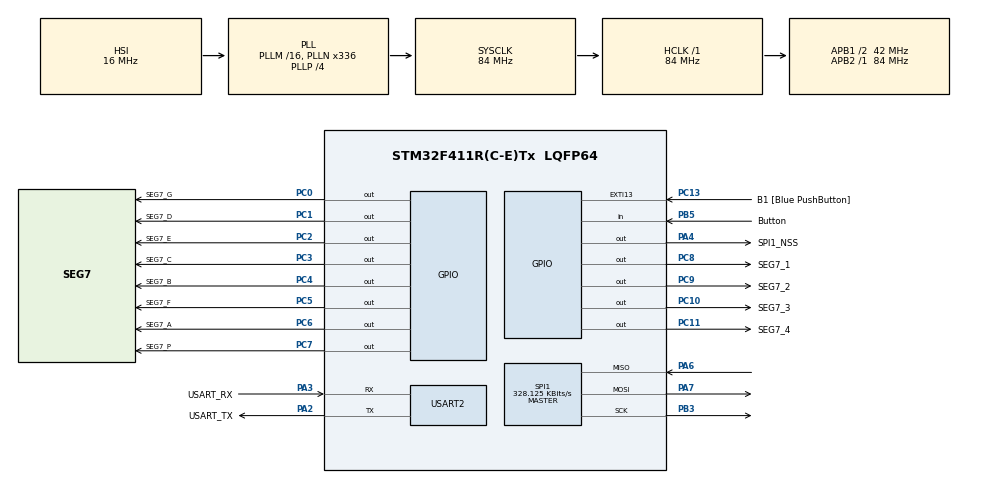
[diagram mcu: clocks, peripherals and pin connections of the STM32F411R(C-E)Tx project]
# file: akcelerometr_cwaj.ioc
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Dma.Request0=USART2_TX
Dma.USART2_TX.0.Direction=DMA_MEMORY_TO_PERIPH
Dma.USART2_TX.0.FIFOMode=DMA_FIFOMODE_DISABLE
Dma.USART2_TX.0.Instance=DMA1_Stream6
Dma.USART2_TX.0.MemDataAlignment=DMA_MDATAALIGN_BYTE
Dma.USART2_TX.0.MemInc=DMA_MINC_ENABLE
Dma.USART2_TX.0.Mode=DMA_NORMAL
Dma.USART2_TX.0.PeriphDataAlignment=DMA_PDATAALIGN_BYTE
Dma.USART2_TX.0.PeriphInc=DMA_PINC_DISABLE
Dma.USART2_TX.0.Priority=DMA_PRIORITY_LOW
Mcu.Family=STM32F4
Mcu.Name=STM32F411R(C-E)Tx
Mcu.Package=LQFP64
NVIC.DMA1_Stream6_IRQn=true\:0\:0\:false\:false\:true\:false\:true
NVIC.PriorityGroup=NVIC_PRIORITYGROUP_0
NVIC.SPI1_IRQn=true\:0\:0\:false\:false\:true\:true\:true
NVIC.USART2_IRQn=true\:0\:0\:false\:false\:true\:true\:true
PA13.GPIO_Label=TMS
PA13.Signal=SYS_JTMS-SWDIO
PA14.GPIO_Label=TCK
PA14.Signal=SYS_JTCK-SWCLK
PA2.GPIO_Label=USART_TX
PA2.Mode=Asynchronous
PA2.Signal=USART2_TX
PA3.GPIO_Label=USART_RX
PA3.Mode=Asynchronous
PA3.Signal=USART2_RX
PA4.GPIO_Label=SPI1_NSS
PA4.Signal=GPIO_Output
PA6.Mode=Full_Duplex_Master
PA6.Signal=SPI1_MISO
PA7.Mode=Full_Duplex_Master
PA7.Signal=SPI1_MOSI
PB3.Mode=Full_Duplex_Master
PB3.Signal=SPI1_SCK
PB5.GPIO_Label=Button
PB5.Signal=GPIO_Input
PC0.GPIO_Label=SEG7_G
PC0.Signal=GPIO_Output
PC1.GPIO_Label=SEG7_D
PC1.Signal=GPIO_Output
PC10.GPIO_Label=SEG7_3
PC10.Signal=GPIO_Output
PC11.GPIO_Label=SEG7_4
PC11.Signal=GPIO_Output
PC13-ANTI_TAMP.GPIO_Label=B1 [Blue PushButton]
PC13-ANTI_TAMP.GPIO_ModeDefaultEXTI=GPIO_MODE_IT_FALLING
PC13-ANTI_TAMP.Signal=GPXTI13
PC14-OSC32_IN.Signal=RCC_OSC32_IN
PC15-OSC32_OUT.Signal=RCC_OSC32_OUT
PC2.GPIO_Label=SEG7_E
PC2.Signal=GPIO_Output
PC3.GPIO_Label=SEG7_C
PC3.Signal=GPIO_Output
PC4.GPIO_Label=SEG7_B
PC4.Signal=GPIO_Output
PC5.GPIO_Label=SEG7_F
PC5.Signal=GPIO_Output
PC6.GPIO_Label=SEG7_A
PC6.Signal=GPIO_Output
PC7.GPIO_Label=SEG7_P
PC7.Signal=GPIO_Output
PC8.GPIO_Label=SEG7_1
PC8.Signal=GPIO_Output
PC9.GPIO_Label=SEG7_2
PC9.Signal=GPIO_Output
PH0\ -\ OSC_IN.Signal=RCC_OSC_IN
PH1\ -\ OSC_OUT.Signal=RCC_OSC_OUT
ProjectManager.HeapSize=0x200
ProjectManager.StackSize=0x400
ProjectManager.TargetToolchain=STM32CubeIDE
RCC.48MHZClocksFreq_Value=84000000
RCC.AHBFreq_Value=84000000
RCC.APB1CLKDivider=RCC_HCLK_DIV2
RCC.APB1Freq_Value=42000000
RCC.APB1TimFreq_Value=84000000
RCC.APB2Freq_Value=84000000
RCC.APB2TimFreq_Value=84000000
RCC.CortexFreq_Value=84000000
RCC.FLatency-AdvancedSettings=FLASH_LATENCY_2
RCC.HCLKFreq_Value=84000000
RCC.HSE_VALUE=8000000
RCC.HSI_VALUE=16000000
RCC.LSE_VALUE=32768
RCC.PLLN=336
RCC.PLLP=RCC_PLLP_DIV4
RCC.SYSCLKFreq_VALUE=84000000
RCC.SYSCLKSource=RCC_SYSCLKSOURCE_PLLCLK
RCC.VCOOutputFreq_Value=336000000
SPI1.BaudRatePrescaler=SPI_BAUDRATEPRESCALER_256
SPI1.CLKPhase=SPI_PHASE_2EDGE
SPI1.CLKPolarity=SPI_POLARITY_HIGH
SPI1.CalculateBaudRate=328.125 KBits/s
SPI1.Direction=SPI_DIRECTION_2LINES
SPI1.Mode=SPI_MODE_MASTER
SPI1.VirtualType=VM_MASTER
USART2.VirtualMode=VM_ASYNC
board=NUCLEO-F411RE

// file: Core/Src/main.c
/* USER CODE BEGIN Header */
/**
  ******************************************************************************
  * @file           : main.c
  * @brief          : Main program body
  ******************************************************************************
  * @attention
  *
  * <h2><center>&copy; Copyright (c) 2021 STMicroelectronics.
  * All rights reserved.</center></h2>
  *
  * This software component is licensed by ST under BSD 3-Clause license,
  * the "License"; You may not use this file except in compliance with the
  * License. You may obtain a copy of the License at:
  *                        opensource.org/licenses/BSD-3-Clause
  *
  ******************************************************************************
  */
/* USER CODE END Header */
#include "main.h"

SPI_HandleTypeDef hspi1;

UART_HandleTypeDef huart2;
DMA_HandleTypeDef hdma_usart2_tx;

void SystemClock_Config(void);
static void MX_GPIO_Init(void);
static void MX_DMA_Init(void);
static void MX_SPI1_Init(void);
static void MX_USART2_UART_Init(void);

/* USER CODE BEGIN 0 */

void display_char(uint8_t axis){
	if(axis == 0){
		HAL_GPIO_WritePin(SEG7_1_GPIO_Port, SEG7_1_Pin, RESET); //X
		HAL_GPIO_WritePin(SEG7_B_GPIO_Port, SEG7_B_Pin, SET);
		HAL_GPIO_WritePin(SEG7_C_GPIO_Port, SEG7_C_Pin, SET);
		HAL_GPIO_WritePin(SEG7_F_GPIO_Port, SEG7_F_Pin, SET);
		HAL_GPIO_WritePin(SEG7_G_GPIO_Port, SEG7_G_Pin, SET);
		HAL_GPIO_WritePin(SEG7_E_GPIO_Port, SEG7_E_Pin, SET);
	}
	if (axis == 1){
		HAL_GPIO_WritePin(SEG7_1_GPIO_Port, SEG7_1_Pin, RESET); //Y
		HAL_GPIO_WritePin(SEG7_B_GPIO_Port, SEG7_B_Pin, SET);
		HAL_GPIO_WritePin(SEG7_C_GPIO_Port, SEG7_C_Pin, SET);
		HAL_GPIO_WritePin(SEG7_F_GPIO_Port, SEG7_F_Pin, SET);
		HAL_GPIO_WritePin(SEG7_G_GPIO_Port, SEG7_G_Pin, SET);
	}
	if(axis == 2){
		HAL_GPIO_WritePin(SEG7_1_GPIO_Port, SEG7_1_Pin, RESET); //Z
		HAL_GPIO_WritePin(SEG7_A_GPIO_Port, SEG7_A_Pin, SET);
		HAL_GPIO_WritePin(SEG7_B_GPIO_Port, SEG7_B_Pin, SET);
		HAL_GPIO_WritePin(SEG7_G_GPIO_Port, SEG7_G_Pin, SET);
		HAL_GPIO_WritePin(SEG7_E_GPIO_Port, SEG7_E_Pin, SET);
		HAL_GPIO_WritePin(SEG7_D_GPIO_Port, SEG7_D_Pin, SET);
	}
	HAL_Delay(1000);
}

void set_s7_output(float display_value, uint8_t seg_choice) //seg_choice in 0...3
{
	static GPIO_TypeDef* seg_binding_bitshift2seg_gpio_port[] =
	{
			SEG7_A_GPIO_Port,
			SEG7_B_GPIO_Port,
			SEG7_C_GPIO_Port,
			SEG7_D_GPIO_Port,
			SEG7_E_GPIO_Port,
			SEG7_F_GPIO_Port,
			SEG7_G_GPIO_Port,
			SEG7_P_GPIO_Port,
	};
	static uint16_t seg_binding_bitshift2seg_pin[] =
	{
			SEG7_A_Pin,
			SEG7_B_Pin,
			SEG7_C_Pin,
			SEG7_D_Pin,
			SEG7_E_Pin,
			SEG7_F_Pin,
			SEG7_G_Pin,
			SEG7_P_Pin,
	};
	static GPIO_TypeDef* seg_choice2seg_gpio_port[] =
	{
			SEG7_1_GPIO_Port,
			SEG7_2_GPIO_Port,
			SEG7_3_GPIO_Port,
			SEG7_4_GPIO_Port,
	};
	static uint16_t seg_choice2seg_pin[] =
	{
			SEG7_1_Pin,
			SEG7_2_Pin,
			SEG7_3_Pin,
			SEG7_4_Pin,
	};
	static double seg_choice2int_coeff[] =
		{
				1,
				.1,
				.01,
				.001,
		};
	// 0xXX: PGFEDCBA
	static uint8_t digit2seg_binding[] =
	{
			0b01000000, // 0
			0b01111001, // 1
			0b00100100, // 2
			0b00110000, // 3
			0b00011001, // 4
			0b00010010, // 5
			0b00000010, // 6
			0b01111000, // 7
			0b00000000, // 8
			0b00010000  // 9
	};

	// digit position choice
	for(uint8_t seg_ix = 0; seg_ix < 4; ++seg_ix)
	{
		GPIO_TypeDef* seg7_gpio_port = seg_choice2seg_gpio_port[seg_ix];
		uint16_t seg7_pin = seg_choice2seg_pin[seg_ix];
		HAL_GPIO_WritePin(seg7_gpio_port, seg7_pin, SET);
	}
	GPIO_TypeDef* seg7_gpio_port = seg_choice2seg_gpio_port[3-seg_choice];
	uint16_t seg7_pin = seg_choice2seg_pin[3-seg_choice];
	HAL_GPIO_WritePin(seg7_gpio_port, seg7_pin, RESET);

	// digit show choice
	double minus_space_shift;
	if(display_value < (double)(+0))
	{
		display_value *= -1;
		minus_space_shift = 1;
//		if(seg_choice == 0)
//		{
//			HAL_GPIO_WritePin(SEG7_A_GPIO_Port, SEG7_P_Pin, RESET);
//			HAL_GPIO_WritePin(SEG7_B_GPIO_Port, SEG7_P_Pin, RESET);
//			HAL_GPIO_WritePin(SEG7_C_GPIO_Port, SEG7_P_Pin, RESET);
//			HAL_GPIO_WritePin(SEG7_D_GPIO_Port, SEG7_P_Pin, RESET);
//			HAL_GPIO_WritePin(SEG7_E_GPIO_Port, SEG7_P_Pin, RESET);
//			HAL_GPIO_WritePin(SEG7_F_GPIO_Port, SEG7_P_Pin, RESET);
//			HAL_GPIO_WritePin(SEG7_G_GPIO_Port, SEG7_P_Pin, SET);
//			HAL_GPIO_WritePin(SEG7_P_GPIO_Port, SEG7_P_Pin, RESET);
//			return;
//		}
	}
	else minus_space_shift = 1;

	uint8_t display_value_rank10 = (int)log10(display_value);
	if(display_value_rank10 < 0) display_value_rank10 = 0;
	if(display_value_rank10 > 3) display_value_rank10 = 3;
	int rank_coeff = pow(10, display_value_rank10);

	uint8_t digit = ((int) (display_value / (seg_choice2int_coeff[seg_choice] * rank_coeff * minus_space_shift))) % 10;
	uint8_t seg_binding = digit2seg_binding[digit];

	for(uint8_t bitshift = 0; bitshift < 7; ++bitshift)
	{
		uint8_t current_seg7_pin_state_flag_extractor = 1 << bitshift;
		GPIO_PinState current_seg7_pin_state;
		if(seg_binding & current_seg7_pin_state_flag_extractor)
			current_seg7_pin_state = RESET;
		else current_seg7_pin_state = SET;

		GPIO_TypeDef* current_seg7_gpio_port = seg_binding_bitshift2seg_gpio_port[bitshift];
		uint16_t current_seg7_pin = seg_binding_bitshift2seg_pin[bitshift];

		HAL_GPIO_WritePin(current_seg7_gpio_port,
				current_seg7_pin,
				current_seg7_pin_state);
	}

	if(seg_choice2int_coeff[seg_choice] * rank_coeff * minus_space_shift == 1)
		HAL_GPIO_WritePin(SEG7_P_GPIO_Port, SEG7_P_Pin, SET);
	else HAL_GPIO_WritePin(SEG7_P_GPIO_Port, SEG7_P_Pin, RESET);

}

void Com_SPI_Write(uint8_t add, uint8_t val){
    uint8_t DataReceived[2];
    uint8_t DataToTransmit[2];

    DataToTransmit[0]=add;
    DataToTransmit[1]=val;

    HAL_GPIO_WritePin(SPI1_NSS_GPIO_Port, SPI1_NSS_Pin, GPIO_PIN_RESET);
    HAL_SPI_TransmitReceive(&hspi1, DataToTransmit, DataReceived, 2, HAL_MAX_DELAY);
    HAL_GPIO_WritePin(SPI1_NSS_GPIO_Port, SPI1_NSS_Pin, GPIO_PIN_SET);
}

void Com_SPI_Read(uint8_t reg, uint8_t* rec){
    uint8_t DataReceived[2];
    uint8_t DataToTransmit[2];

    DataToTransmit[0]=LIS35_READ|reg;
    DataToTransmit[1]=0;

    HAL_GPIO_WritePin(SPI1_NSS_GPIO_Port, SPI1_NSS_Pin, GPIO_PIN_RESET);
    HAL_SPI_TransmitReceive(&hspi1, DataToTransmit, DataReceived, 2, HAL_MAX_DELAY);
    HAL_GPIO_WritePin(SPI1_NSS_GPIO_Port, SPI1_NSS_Pin, GPIO_PIN_SET);

    *rec = DataReceived[1];
}

uint8_t TxBuf[50];
/* USER CODE END 0 */

int main(void)
{

  /* MCU Configuration--------------------------------------------------------*/

  /* Reset of all peripherals, Initializes the Flash interface and the Systick. */
  HAL_Init();

  /* Configure the system clock */
  SystemClock_Config();

  /* Initialize all configured peripherals */
  MX_GPIO_Init();
  MX_DMA_Init();
  MX_SPI1_Init();
  MX_USART2_UART_Init();
  /* USER CODE BEGIN 2 */
  uint8_t seg_choice = 0;
  int delay_mgr_ctr = 0;
  Com_SPI_Write(LIS35_REG_CR1,0x47);
  uint8_t acceleration;
  double acc_converted;
  uint8_t pusch = 0;
  /* USER CODE END 2 */

  /* Infinite loop */
  /* USER CODE BEGIN WHILE */
  while (1)
  {
	  if(delay_mgr_ctr % 200 == 0)
	  {
		  Com_SPI_Read(LIS35_REG_OUTZ, &acceleration);

		  if(acceleration & 0x80) acceleration = ~acceleration - 1;
		  acc_converted = acceleration *0.02 /1.04 /1.018;

		  uint8_t TxSize;
		  TxSize = snprintf(TxBuf, sizeof(TxBuf), "Acceleration Z -> %f [g] \r\n", acc_converted);
		  HAL_UART_Transmit_DMA(&huart2, TxBuf, TxSize);
	  }

	  if(delay_mgr_ctr % 2 == 0)
	  {
		  set_s7_output(acc_converted  *9.8, seg_choice);
		  seg_choice = (++seg_choice) % 4;
	  }

	  ++delay_mgr_ctr;
	  HAL_Delay(1);
    /* USER CODE END WHILE */

  }
}

void SystemClock_Config(void)
{
  RCC_OscInitTypeDef RCC_OscInitStruct = {0};
  RCC_ClkInitTypeDef RCC_ClkInitStruct = {0};

  /** Configure the main internal regulator output voltage
  */
  __HAL_RCC_PWR_CLK_ENABLE();
  __HAL_PWR_VOLTAGESCALING_CONFIG(PWR_REGULATOR_VOLTAGE_SCALE1);
  /** Initializes the RCC Oscillators according to the specified parameters
  * in the RCC_OscInitTypeDef structure.
  */
  RCC_OscInitStruct.OscillatorType = RCC_OSCILLATORTYPE_HSI;
  RCC_OscInitStruct.HSIState = RCC_HSI_ON;
  RCC_OscInitStruct.HSICalibrationValue = RCC_HSICALIBRATION_DEFAULT;
  RCC_OscInitStruct.PLL.PLLState = RCC_PLL_ON;
  RCC_OscInitStruct.PLL.PLLSource = RCC_PLLSOURCE_HSI;
  RCC_OscInitStruct.PLL.PLLM = 16;
  RCC_OscInitStruct.PLL.PLLN = 336;
  RCC_OscInitStruct.PLL.PLLP = RCC_PLLP_DIV4;
  RCC_OscInitStruct.PLL.PLLQ = 4;
  if (HAL_RCC_OscConfig(&RCC_OscInitStruct) != HAL_OK)
  {
    Error_Handler();
  }
  /** Initializes the CPU, AHB and APB buses clocks
  */
  RCC_ClkInitStruct.ClockType = RCC_CLOCKTYPE_HCLK|RCC_CLOCKTYPE_SYSCLK
                              |RCC_CLOCKTYPE_PCLK1|RCC_CLOCKTYPE_PCLK2;
  RCC_ClkInitStruct.SYSCLKSource = RCC_SYSCLKSOURCE_PLLCLK;
  RCC_ClkInitStruct.AHBCLKDivider = RCC_SYSCLK_DIV1;
  RCC_ClkInitStruct.APB1CLKDivider = RCC_HCLK_DIV2;
  RCC_ClkInitStruct.APB2CLKDivider = RCC_HCLK_DIV1;

  if (HAL_RCC_ClockConfig(&RCC_ClkInitStruct, FLASH_LATENCY_2) != HAL_OK)
  {
    Error_Handler();
  }
}

static void MX_SPI1_Init(void)
{

  /* USER CODE BEGIN SPI1_Init 0 */
	__HAL_RCC_SPI1_CLK_ENABLE();
  /* USER CODE END SPI1_Init 0 */

  /* SPI1 parameter configuration*/
  hspi1.Instance = SPI1;
  hspi1.Init.Mode = SPI_MODE_MASTER;
  hspi1.Init.Direction = SPI_DIRECTION_2LINES;
  hspi1.Init.DataSize = SPI_DATASIZE_8BIT;
  hspi1.Init.CLKPolarity = SPI_POLARITY_HIGH;
  hspi1.Init.CLKPhase = SPI_PHASE_2EDGE;
  hspi1.Init.NSS = SPI_NSS_SOFT;
  hspi1.Init.BaudRatePrescaler = SPI_BAUDRATEPRESCALER_256;
  hspi1.Init.FirstBit = SPI_FIRSTBIT_MSB;
  hspi1.Init.TIMode = SPI_TIMODE_DISABLE;
  hspi1.Init.CRCCalculation = SPI_CRCCALCULATION_DISABLE;
  hspi1.Init.CRCPolynomial = 10;
  if (HAL_SPI_Init(&hspi1) != HAL_OK)
  {
    Error_Handler();
  }

}

static void MX_USART2_UART_Init(void)
{

  huart2.Instance = USART2;
  huart2.Init.BaudRate = 115200;
  huart2.Init.WordLength = UART_WORDLENGTH_8B;
  huart2.Init.StopBits = UART_STOPBITS_1;
  huart2.Init.Parity = UART_PARITY_NONE;
  huart2.Init.Mode = UART_MODE_TX_RX;
  huart2.Init.HwFlowCtl = UART_HWCONTROL_NONE;
  huart2.Init.OverSampling = UART_OVERSAMPLING_16;
  if (HAL_UART_Init(&huart2) != HAL_OK)
  {
    Error_Handler();
  }

}

static void MX_DMA_Init(void)
{

  /* DMA controller clock enable */
  __HAL_RCC_DMA1_CLK_ENABLE();

  /* DMA interrupt init */
  /* DMA1_Stream6_IRQn interrupt configuration */
  HAL_NVIC_SetPriority(DMA1_Stream6_IRQn, 0, 0);
  HAL_NVIC_EnableIRQ(DMA1_Stream6_IRQn);

}

static void MX_GPIO_Init(void)
{
  GPIO_InitTypeDef GPIO_InitStruct = {0};

  /* GPIO Ports Clock Enable */
  __HAL_RCC_GPIOC_CLK_ENABLE();
  __HAL_RCC_GPIOH_CLK_ENABLE();
  __HAL_RCC_GPIOA_CLK_ENABLE();
  __HAL_RCC_GPIOB_CLK_ENABLE();

  /*Configure GPIO pin Output Level */
  HAL_GPIO_WritePin(GPIOC, SEG7_G_Pin|SEG7_D_Pin|SEG7_E_Pin|SEG7_C_Pin
                          |SEG7_B_Pin|SEG7_F_Pin|SEG7_A_Pin|SEG7_P_Pin
                          |SEG7_1_Pin|SEG7_2_Pin|SEG7_3_Pin|SEG7_4_Pin, GPIO_PIN_RESET);

  /*Configure GPIO pin Output Level */
  HAL_GPIO_WritePin(SPI1_NSS_GPIO_Port, SPI1_NSS_Pin, GPIO_PIN_RESET);

  /*Configure GPIO pin : B1_Pin */
  GPIO_InitStruct.Pin = B1_Pin;
  GPIO_InitStruct.Mode = GPIO_MODE_IT_FALLING;
  GPIO_InitStruct.Pull = GPIO_NOPULL;
  HAL_GPIO_Init(B1_GPIO_Port, &GPIO_InitStruct);

  /*Configure GPIO pins : SEG7_G_Pin SEG7_D_Pin SEG7_E_Pin SEG7_C_Pin
                           SEG7_B_Pin SEG7_F_Pin SEG7_A_Pin SEG7_P_Pin
                           SEG7_1_Pin SEG7_2_Pin SEG7_3_Pin SEG7_4_Pin */
  GPIO_InitStruct.Pin = SEG7_G_Pin|SEG7_D_Pin|SEG7_E_Pin|SEG7_C_Pin
                          |SEG7_B_Pin|SEG7_F_Pin|SEG7_A_Pin|SEG7_P_Pin
                          |SEG7_1_Pin|SEG7_2_Pin|SEG7_3_Pin|SEG7_4_Pin;
  GPIO_InitStruct.Mode = GPIO_MODE_OUTPUT_PP;
  GPIO_InitStruct.Pull = GPIO_NOPULL;
  GPIO_InitStruct.Speed = GPIO_SPEED_FREQ_LOW;
  HAL_GPIO_Init(GPIOC, &GPIO_InitStruct);

  /*Configure GPIO pin : SPI1_NSS_Pin */
  GPIO_InitStruct.Pin = SPI1_NSS_Pin;
  GPIO_InitStruct.Mode = GPIO_MODE_OUTPUT_PP;
  GPIO_InitStruct.Pull = GPIO_NOPULL;
  GPIO_InitStruct.Speed = GPIO_SPEED_FREQ_LOW;
  HAL_GPIO_Init(SPI1_NSS_GPIO_Port, &GPIO_InitStruct);

  /*Configure GPIO pin : Button_Pin */
  GPIO_InitStruct.Pin = Button_Pin;
  GPIO_InitStruct.Mode = GPIO_MODE_INPUT;
  GPIO_InitStruct.Pull = GPIO_NOPULL;
  HAL_GPIO_Init(Button_GPIO_Port, &GPIO_InitStruct);

}

void Error_Handler(void)
{
  __disable_irq();
  while (1)
  {
  }
}

/************************ (C) COPYRIGHT STMicroelectronics *****END OF FILE****/
